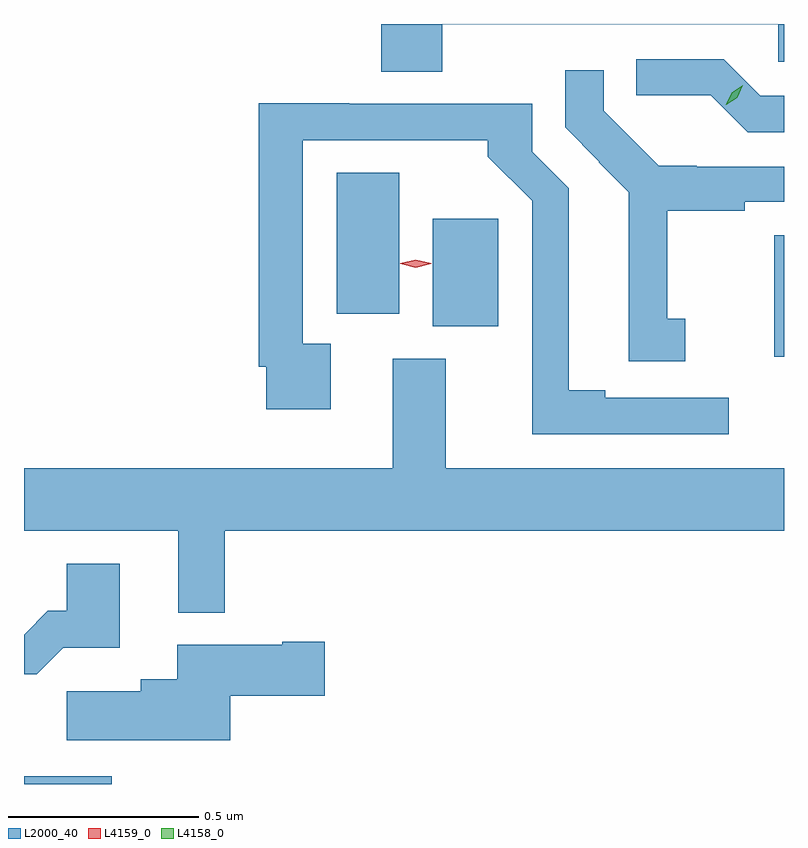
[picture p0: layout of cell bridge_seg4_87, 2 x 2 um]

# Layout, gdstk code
import gdstk
lib = gdstk.Library(unit=1e-6, precision=1e-09)
def R(c, l, rs):  # rectangles x0, y0, x1, y1
    for r in rs: c.add(gdstk.rectangle(r[:2], r[2:], *l))
def P(c, l, *ps):  # polygons
    for p in ps: c.add(gdstk.Polygon(p, *l))
L2000_40 = (2000, 40)
L4158_0 = (4158, 0)
L4159_0 = (4159, 0)

bridge_seg4_87 = lib.new_cell('bridge_seg4_87')
R(bridge_seg4_87, L2000_40, [(469.303,781.501,469.534,781.522), (471.277,782.625,471.303,782.945), (470.378,782.705,470.551,782.989), (470.126,782.739,470.29,783.11)])
P(bridge_seg4_87, L2000_40, [(470.403,783.5),(471.288,783.5),(471.288,783.402),(471.303,783.402),(471.303,783.501),(469.303,783.501),(469.303,783.5),(470.243,783.5),(470.243,783.376),(470.403,783.376)],
  [(471.303,783.312),(471.24,783.312),(471.144,783.408),(470.914,783.408),(470.914,783.313),(471.11,783.313),(471.207,783.216),(471.303,783.216)],
  [(471.043,782.726),(470.996,782.726),(470.996,783.01),(471.2,783.01),(471.2,783.033),(471.303,783.033),(471.303,783.126),(471.073,783.126),(471.073,783.128),(470.974,783.128),(470.829,783.273),(470.829,783.379),(470.727,783.379),(470.727,783.229),(470.817,783.138),(470.816,783.137),(470.894,783.058),(470.894,782.613),(471.043,782.613)],
  [(471.157,782.517),(470.833,782.517),(470.833,782.537),(470.737,782.537),(470.737,782.972),(470.736,782.972),(470.736,783.069),(470.64,783.165),(470.64,783.291),(470.159,783.291),(470.159,783.293),(469.921,783.293),(469.921,782.599),(469.941,782.599),(469.941,782.487),(470.11,782.487),(470.11,782.659),(470.037,782.659),(470.037,783.195),(470.524,783.195),(470.524,783.152),(470.64,783.036),(470.64,782.421),(471.157,782.421)],
  [(469.831,782.168),(471.303,782.168),(471.303,782.332),(470.413,782.332),(470.413,782.62),(470.273,782.62),(470.273,782.332),(469.303,782.332),(469.303,782.168),(469.709,782.168),(469.709,781.952),(469.831,781.952)],
  [(469.406,781.859),(469.555,781.859),(469.555,782.08),(469.415,782.08),(469.415,781.957),(469.366,781.957),(469.303,781.894),(469.303,781.79),(469.337,781.79)],
  [(469.846,781.733),(470.095,781.733),(470.095,781.875),(469.982,781.875),(469.982,781.867),(469.706,781.867),(469.706,781.777),(469.61,781.777),(469.61,781.745),(469.416,781.745),(469.416,781.616),(469.846,781.616)])
P(bridge_seg4_87, L4158_0, [(471.15,783.288),(471.15,783.288),(471.165,783.32),(471.195,783.34),(471.195,783.34),(471.195,783.34),(471.18,783.307),(471.151,783.288)])
P(bridge_seg4_87, L4159_0, [(470.334,782.86),(470.293,782.87),(470.293,782.87),(470.293,782.871),(470.334,782.88),(470.375,782.871),(470.375,782.87),(470.375,782.87)])

lib.write_gds('bridge_seg4_87.gds')
